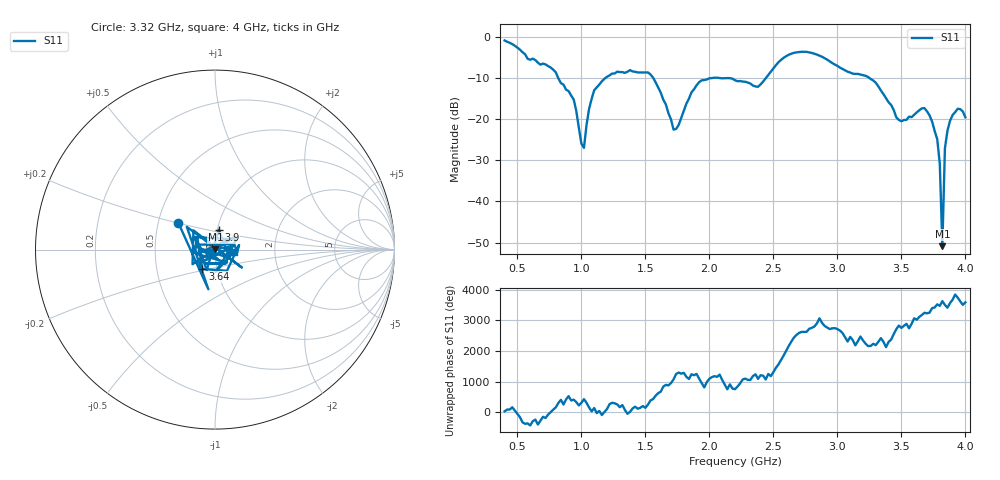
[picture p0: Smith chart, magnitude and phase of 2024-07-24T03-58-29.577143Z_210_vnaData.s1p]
!Created with skrf (http://scikit-rf.org).
# Hz S RI R 50.0
!freq ReS11 ImS11
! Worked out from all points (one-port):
!   181 points, 400 MHz to 4 GHz, reference 50 ohm
!   lowest |S11| = -50.9 dB at 3.82 GHz (marker M1), VSWR 1.01, Z = 50.2 + j0.153 ohm
!   |S11| at or under -10 dB: 819.5 MHz to 1.185 GHz (365.9 MHz wide, 36.5 % of centre); 1.562 GHz to 2.008 GHz (445.3 MHz wide, 25 % of centre); 3.252 GHz to end of sweep (the widest 3 of 5)
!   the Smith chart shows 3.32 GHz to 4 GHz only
!   S11 on the Smith chart (normalised r, x): 3.32 GHz: 0.64, +0.20; 3.64 GHz: 0.85, -0.19; 3.9 GHz: 1.02, +0.23; 4 GHz: 1.23, -0.04
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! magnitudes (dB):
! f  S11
! 400 MHz  -0.8
! 760 MHz  -7.4
! 860 MHz  -11.6
! 940 MHz  -15.2
! 1 GHz  -25.9
! 1.02 GHz  -27.0
! 1.06 GHz  -17.5
! 1.1 GHz  -12.9
! 1.3 GHz  -8.5
! 1.54 GHz  -9.1
! 1.72 GHz  -22.5
! 1.76 GHz  -21.4
! 1.92 GHz  -11.0
! 2.2 GHz  -10.5
! 2.38 GHz  -12.1
! 2.66 GHz  -3.8
! 3.1 GHz  -8.6
! 3.32 GHz  -12.0
! 3.48 GHz  -20.2
! 3.56 GHz  -19.3
! 3.64 GHz  -17.8
! 3.72 GHz  -19.1
! 3.78 GHz  -24.8
! 3.8 GHz  -30.8
! 3.82 GHz  -50.9
! 3.84 GHz  -27.1
! 3.9 GHz  -19.0
! 4 GHz  -19.5
